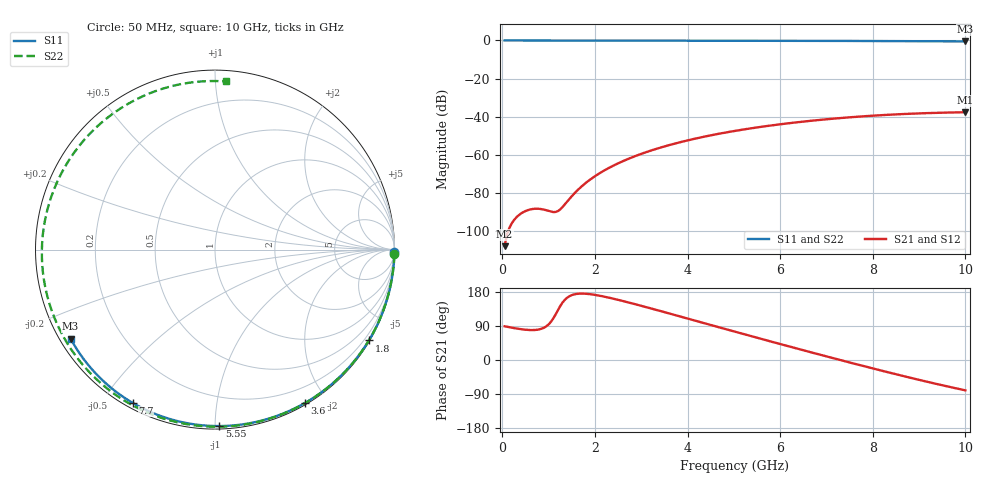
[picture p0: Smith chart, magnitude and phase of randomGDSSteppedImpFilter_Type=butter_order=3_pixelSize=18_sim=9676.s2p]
! freq	dB(S11)	phase(S11)	dB(S12)	phase(S12)
!  dB(S21)	phase(S21)	dB(S22)	phase(S22)
!S-par simulation data
#  GHz  S  DB  R 50
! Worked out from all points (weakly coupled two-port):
!   200 points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, 50 MHz to 10 GHz, reference 50 ohm
!   highest |S21| = -37.70 dB at 10 GHz (marker M1); lowest = -108.1 dB at 50 MHz (marker M2)
!   lowest |S11| = -0.5 dB at 10 GHz (marker M3), VSWR 35.37, Z = 1.53 - j14.1 ohm
!   |S11| at or under -10 dB: nowhere
!   |S22| runs from -0.6 to 0.0 dB; largest |S21 - S12| = 0
!   S11 on the Smith chart (normalised r, x): 50 MHz: open; 1.8 GHz: 0.03, -3.66; 3.6 GHz: 0.02, -1.75; 5.55 GHz: 0.02, -1.02; 7.7 GHz: 0.02, -0.60; 10 GHz: 0.03, -0.28
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0.05  -0.00 -0.9  -108.06 89.0  -108.06 89.0  -0.00 -1.6
0.4  -0.01 -6.9  -90.96 81.4  -90.96 81.4  -0.02 -12.3
0.75  -0.02 -12.9  -88.37 79.7  -88.37 79.7  -0.03 -23.0
1.55  -0.03 -26.4  -80.50 173.0  -80.50 173.0  -0.06 -47.0
1.75  -0.04 -29.7  -75.89 175.2  -75.89 175.2  -0.07 -52.9
1.8  -0.04 -30.6  -74.89 174.9  -74.89 174.9  -0.07 -54.3
2.1  -0.05 -35.5  -69.76 169.7  -69.76 169.7  -0.08 -62.9
2.5  -0.05 -42.1  -64.55 158.8  -64.55 158.8  -0.09 -74.2
2.9  -0.06 -48.5  -60.47 146.3  -60.47 146.3  -0.11 -85.1
3.4  -0.07 -56.5  -56.39 129.7  -56.39 129.7  -0.13 -98.5
3.6  -0.08 -59.6  -54.99 123.0  -54.99 123.0  -0.13 -103.7
4.3  -0.10 -70.3  -50.85 99.2  -50.85 99.2  -0.17 -121.6
5.05  -0.12 -81.4  -47.39 73.9  -47.39 73.9  -0.20 -140.3
5.55  -0.14 -88.7  -45.51 57.1  -45.51 57.1  -0.24 -152.6
6.15  -0.17 -97.1  -43.58 37.2  -43.58 37.2  -0.28 -167.4
6.7  -0.20 -104.7  -42.10 19.2  -42.10 19.2  -0.32 178.8
7.2  -0.23 -111.5  -40.96 3.1  -40.96 3.1  -0.36 166.0
7.7  -0.27 -118.2  -40.00 -12.8  -40.00 -12.8  -0.40 152.9
8.35  -0.32 -126.8  -39.02 -33.0  -39.02 -33.0  -0.45 135.1
9.2  -0.40 -137.9  -38.15 -58.2  -38.15 -58.2  -0.51 110.6
9.6  -0.45 -143.1  -37.88 -69.4  -37.88 -69.4  -0.53 98.6
10  -0.49 -148.4  -37.70 -80.1  -37.70 -80.1  -0.55 86.3
